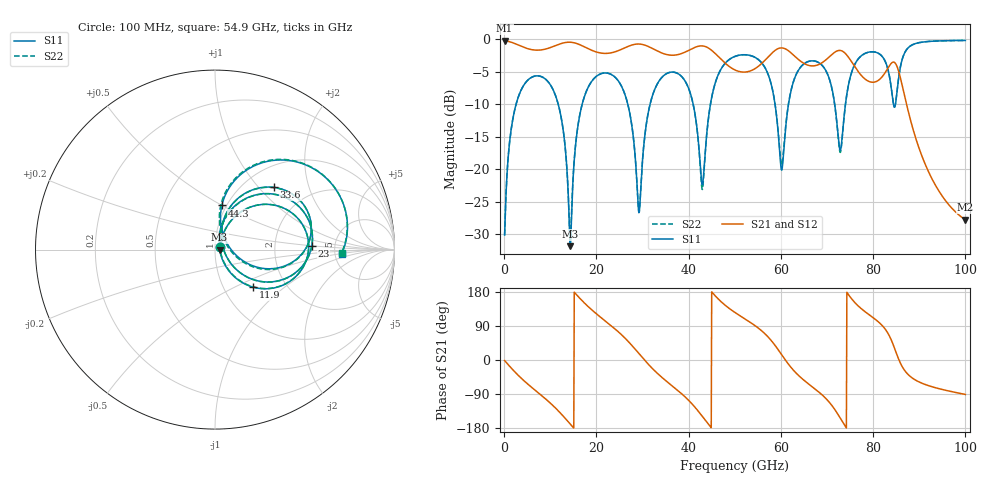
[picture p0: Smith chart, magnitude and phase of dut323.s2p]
! Touchstone file exported from HFSS 2026.1.0
!  File:  C:/ffzhzh/LocalFiles/Ansys_Project_Files/temp_train_TSV_RDL_323_1783702034_44652.aedt
!  Generated:  12:54:52 AM Jul 11, 2026
!  Design:  TSV_RDL
!  Project:  temp_train_TSV_RDL_323_1783702034_44652
! Variables:
!  h_bsmrdl = 3.35um
!  h_ox = 20um
!  h_rdl = 5um
!  h_sub = 71.65um
!  h_tmrdl = 3.22um
!  h_tsv = 71.65um
!  h_via = 3um
!  l_bsmrdl = 538.84um
!  l_sub = 3754.65um
!  l_tmrdl = 413.81um
!  m_sub = 200um
!  pitch = 41.76um
!  r_tsv = 11.96um
!  s_tmrdl = 10um
!  w_bsmrdl = 17um
!  w_sub = 500um
!  w_tmrdl = 10.63um
!  x_tsv_center1 = 419.125um
!  x_tsv_center2 = 974.965um
!  x_tsv_center3 = 1399.405um
!  x_tsv_center4 = 1955.245um
!  x_tsv_center5 = 2379.685um
!  x_tsv_center6 = 2935.525um
# GHz S MA R 50.000000
! Terminal data exported
! Port[1] = TM_RDL1_1_T1
! Port[2] = TM_RDL5_1_T1
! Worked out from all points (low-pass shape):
!   1000 points, 100 MHz to 100 GHz, reference 50 ohm
!   highest |S21| = -0.24 dB at 100 MHz (marker M1); lowest = -27.8 dB at 100 GHz (marker M2)
!   |S21| within 3 dB of the highest: start of sweep to 47.24 GHz; 56.55 GHz to 64 GHz (7.449 GHz wide, 12.4 % of centre) (the widest 2 of 3)
!   lowest |S11| = -31.8 dB at 14.3 GHz (marker M3), VSWR 1.05, Z = 52.6 - j0.0949 ohm
!   |S11| at or under -10 dB: 11.72 GHz to 16.92 GHz (5.196 GHz wide, 36.3 % of centre); 26.81 GHz to 31.64 GHz (4.834 GHz wide, 16.5 % of centre); 40.98 GHz to 44.73 GHz (3.747 GHz wide, 8.74 % of centre) (the widest 3 of 7)
!   |S22| runs from -31.2 to -0.2 dB; largest |S21 - S12| = 3.6e-14
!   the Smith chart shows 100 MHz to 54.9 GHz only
!   S11 on the Smith chart (normalised r, x): 100 MHz: 1.06, +0.03; 11.9 GHz: 1.37, -0.63; 23 GHz: 3.33, +0.20; 33.6 GHz: 1.35, +1.21; 44.3 GHz: 0.95, +0.50; 54.9 GHz: 5.75, -0.54
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0.1  0.0312 26.5  0.9723 -1.5  0.9723 -1.5  0.0312 26.5
! Gamma 0 0 0 0
! Port Impedance 50 0 50 0
3.8  0.4145 36.6  0.8787 -49.2  0.8787 -49.2  0.4144 36.7
11.9  0.2988 -44.5  0.9134 -136.2  0.9134 -136.2  0.2987 -44.2
14.3  0.02562 -2.0  0.9472 -168.6  0.9472 -168.6  0.02767 -0.5
16.8  0.3045 62.0  0.8932 157.8  0.8932 157.8  0.305 61.6
23  0.5397 2.3  0.7826 92.5  0.7826 92.5  0.54 2.1
29.2  0.0463 9.7  0.9176 17.3  0.9176 17.3  0.04664 9.3
33.4  0.4654 48.5  0.8044 -37.2  0.8044 -37.2  0.4652 48.2
33.6  0.4775 46.5  0.7983 -39.4  0.7983 -39.4  0.4774 46.3
40.3  0.3903 -14.0  0.8299 -110.2  0.8299 -110.2  0.3895 -14.7
42.9  0.07639 21.6  0.8875 -147.7  0.8875 -147.7  0.0703 20.9
44.3  0.249 81.2  0.8541 -169.7  0.8541 -169.7  0.2472 82.6
50.1  0.7383 32.2  0.5782 124.9  0.5782 124.9  0.7381 32.6
54.9  0.7059 -1.9  0.6102 86.1  0.6102 86.1  0.7061 -1.3
60.2  0.09834 17.4  0.8564 13.4  0.8564 13.4  0.108 17.2
66.7  0.6812 19.7  0.623 -69.8  0.623 -69.8  0.6815 19.3
71.1  0.412 -16.6  0.7646 -120.7  0.7646 -120.7  0.411 -17.3
73.7  0.2548 66.0  0.7924 -169.9  0.7924 -169.9  0.252 66.9
79.5  0.799 25.2  0.468 116.1  0.468 116.1  0.7987 25.3
83.4  0.5472 -3.1  0.614 66.4  0.614 66.4  0.5472 -2.9
86.9  0.793 42.5  0.356 -28.7  0.356 -28.7  0.7939 42.5
100  0.9769 -3.3  0.04086 -90.9  0.04086 -90.9  0.9771 -3.2
